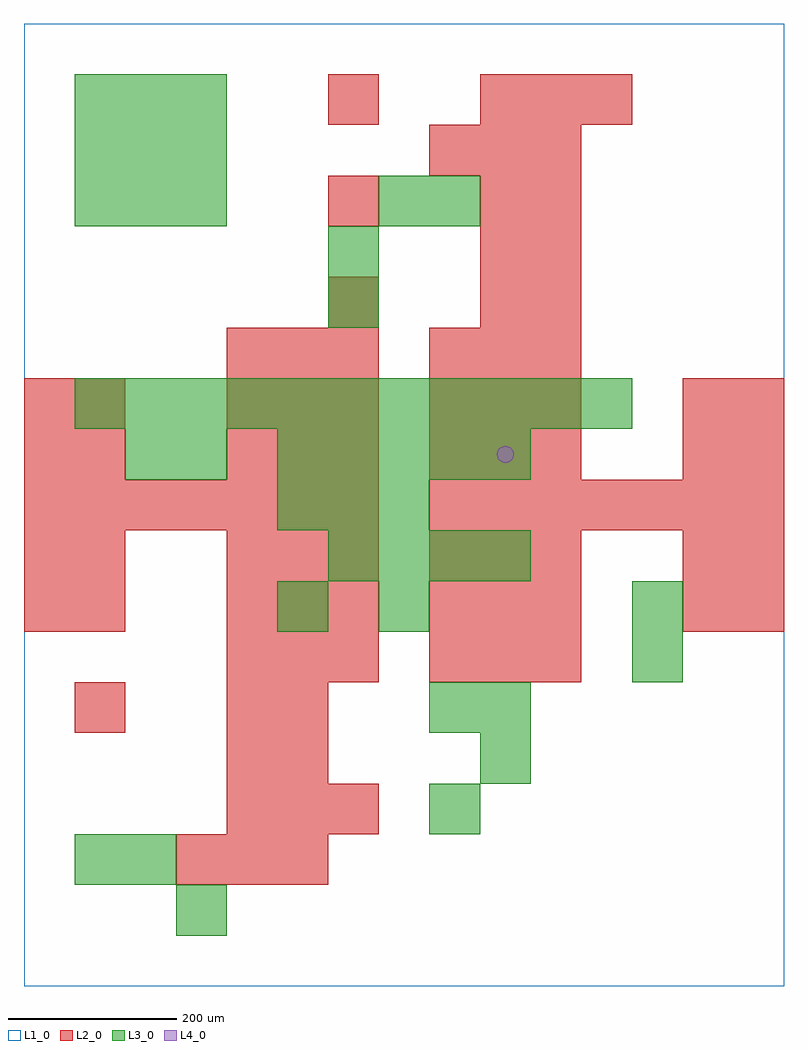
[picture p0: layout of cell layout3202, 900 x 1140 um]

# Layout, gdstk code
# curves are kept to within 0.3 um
import gdstk
lib = gdstk.Library(unit=1e-6, precision=1e-09)
def R(c, l, rs):  # rectangles x0, y0, x1, y1
    for r in rs: c.add(gdstk.rectangle(r[:2], r[2:], *l))
def A(c, l, x, y, w, h, nx, ny, dx, dy):  # array of equal rectangles
    R(c, l, [(x+i*dx, y+j*dy, x+i*dx+w, y+j*dy+h) for i in range(nx) for j in range(ny)])
def P(c, l, *ps):  # polygons
    for p in ps: c.add(gdstk.Polygon(p, *l))
L1_0 = (1, 0)
L2_0 = (2, 0)
L3_0 = (3, 0)
L4_0 = (4, 0)

layout3202 = lib.new_cell('layout3202')
R(layout3202, L1_0, [(0,0,900,1140)])
A(layout3202, L2_0, 180, 120, 60, 60, 3, 1, 60, 0)
A(layout3202, L2_0, 240, 180, 60, 60, 3, 2, 60, 180)
A(layout3202, L2_0, 480, 360, 60, 60, 3, 3, 60, 60)
A(layout3202, L2_0, 240, 420, 60, 60, 3, 2, 60, 60)
A(layout3202, L2_0, 0, 540, 60, 60, 7, 1, 60, 0)
A(layout3202, L2_0, 480, 540, 60, 60, 7, 1, 60, 0)
A(layout3202, L2_0, 240, 600, 60, 60, 3, 3, 60, 60)
A(layout3202, L2_0, 480, 600, 60, 60, 3, 3, 60, 60)
A(layout3202, L2_0, 360, 780, 60, 60, 1, 3, 0, 120)
A(layout3202, L2_0, 540, 780, 60, 60, 1, 3, 0, 60)
A(layout3202, L2_0, 600, 780, 60, 60, 1, 3, 0, 60)
A(layout3202, L2_0, 480, 960, 60, 60, 3, 1, 60, 0)
A(layout3202, L2_0, 540, 1020, 60, 60, 3, 1, 60, 0)
R(layout3202, L2_0, [(240,240,300,300), (300,240,360,300), (60,300,120,360), (240,300,300,360), (300,300,360,360), (0,420,60,480), (60,420,120,480), (780,420,840,480), (840,420,900,480), (0,480,60,540), (60,480,120,540), (780,480,840,540), (840,480,900,540), (0,600,60,660), (60,600,120,660), (780,600,840,660), (840,600,900,660), (0,660,60,720), (60,660,120,720), (780,660,840,720), (840,660,900,720)])
A(layout3202, L3_0, 360, 480, 60, 60, 4, 1, 60, 0)
A(layout3202, L3_0, 300, 540, 60, 60, 3, 1, 60, 0)
A(layout3202, L3_0, 300, 600, 60, 60, 5, 1, 60, 0)
A(layout3202, L3_0, 60, 660, 60, 60, 11, 1, 60, 0)
A(layout3202, L3_0, 60, 900, 60, 60, 3, 3, 60, 60)
R(layout3202, L3_0, [(180,60,240,120), (60,120,120,180), (120,120,180,180), (480,180,540,240), (540,240,600,300), (480,300,540,360), (540,300,600,360), (720,360,780,420), (300,420,360,480), (420,420,480,480), (720,420,780,480), (120,600,180,660), (180,600,240,660), (360,780,420,840), (360,840,420,900), (420,900,480,960), (480,900,540,960)])
P(layout3202, L4_0, [(580,630),(579.239,633.827),(577.071,637.071),(573.827,639.239),(570,640),(566.173,639.239),(562.929,637.071),(560.761,633.827),(560,630),(560.761,626.173),(562.929,622.929),(566.173,620.761),(570,620),(573.827,620.761),(577.071,622.929),(579.239,626.173)])

lib.write_gds('layout3202.gds')
